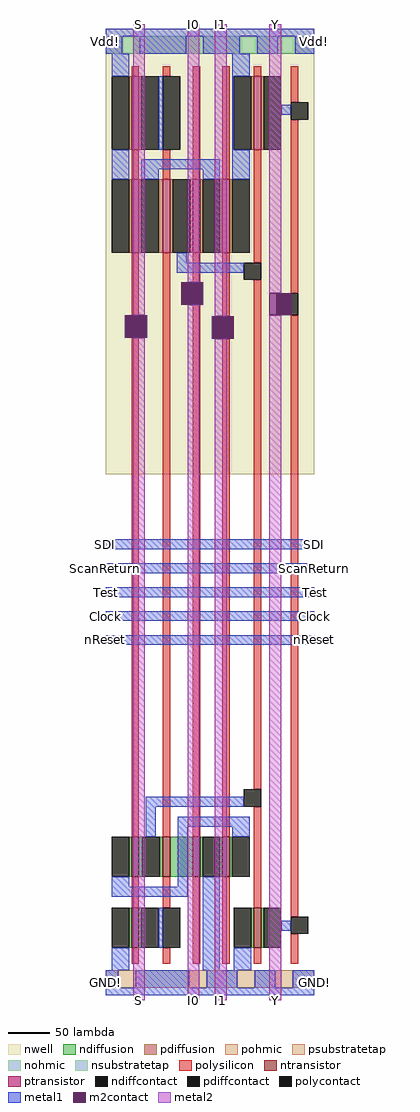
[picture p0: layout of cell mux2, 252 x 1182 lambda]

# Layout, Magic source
magic
tech tsmc180
<< nwell >>
rect 0 637 252 1176
<< polysilicon >>
rect 31 1119 40 1131
rect 69 1119 78 1131
rect 31 994 40 1030
rect 69 994 78 1030
rect 105 994 114 1131
rect 141 994 150 1131
rect 179 1119 188 1131
rect 224 1087 233 1131
rect 31 829 40 905
rect 31 198 40 802
rect 69 198 78 905
rect 105 869 114 905
rect 105 198 114 842
rect 141 828 150 905
rect 179 893 188 1030
rect 141 198 150 801
rect 179 255 188 872
rect 224 856 233 1066
rect 31 112 40 149
rect 69 112 78 149
rect 31 44 40 63
rect 69 44 78 63
rect 105 44 114 149
rect 141 44 150 149
rect 179 112 188 234
rect 224 101 233 829
rect 179 44 188 63
rect 224 44 233 80
<< ndiffusion >>
rect 28 149 31 198
rect 40 149 44 198
rect 65 149 69 198
rect 78 149 105 198
rect 114 149 117 198
rect 138 149 141 198
rect 150 149 153 198
rect 28 63 31 112
rect 40 63 43 112
rect 176 63 179 112
rect 188 63 191 112
<< pdiffusion >>
rect 28 1030 31 1119
rect 40 1030 43 1119
rect 176 1030 179 1119
rect 188 1030 191 1119
rect 28 905 31 994
rect 40 905 43 994
rect 64 905 69 994
rect 78 905 81 994
rect 102 905 105 994
rect 114 905 117 994
rect 138 905 141 994
rect 150 905 153 994
<< pohmic >>
rect 0 15 15 36
rect 36 15 101 36
rect 122 15 159 36
rect 180 15 205 36
rect 226 15 252 36
<< nohmic >>
rect 0 1146 20 1167
rect 41 1146 97 1167
rect 118 1146 162 1167
rect 183 1146 208 1167
rect 229 1146 252 1167
<< ntransistor >>
rect 31 149 40 198
rect 69 149 78 198
rect 105 149 114 198
rect 141 149 150 198
rect 31 63 40 112
rect 179 63 188 112
<< ptransistor >>
rect 31 1030 40 1119
rect 179 1030 188 1119
rect 31 905 40 994
rect 69 905 78 994
rect 105 905 114 994
rect 141 905 150 994
<< polycontact >>
rect 69 1030 90 1119
rect 224 1066 245 1087
rect 23 802 50 829
rect 91 842 118 869
rect 167 872 188 893
rect 128 801 155 828
rect 206 829 233 856
rect 167 234 188 255
rect 69 63 90 112
rect 224 80 245 101
<< ndiffcontact >>
rect 7 149 28 198
rect 44 149 65 198
rect 117 149 138 198
rect 153 149 174 198
rect 7 63 28 112
rect 43 63 64 112
rect 155 63 176 112
rect 191 63 212 112
<< pdiffcontact >>
rect 7 1030 28 1119
rect 43 1030 64 1119
rect 155 1030 176 1119
rect 191 1030 212 1119
rect 7 905 28 994
rect 43 905 64 994
rect 81 905 102 994
rect 117 905 138 994
rect 153 905 174 994
<< psubstratetap >>
rect 15 15 36 36
rect 101 15 122 36
rect 159 15 180 36
rect 205 15 226 36
<< nsubstratetap >>
rect 20 1146 41 1167
rect 97 1146 118 1167
rect 162 1146 183 1167
rect 208 1146 229 1167
<< metal1 >>
rect 0 1167 252 1176
rect 0 1146 20 1167
rect 41 1146 97 1167
rect 118 1146 162 1167
rect 183 1146 208 1167
rect 229 1146 252 1167
rect 7 1119 28 1146
rect 153 1119 174 1146
rect 64 1030 69 1119
rect 153 1030 155 1119
rect 212 1072 224 1084
rect 7 994 28 1030
rect 43 1006 138 1018
rect 43 994 64 1006
rect 117 994 138 1006
rect 153 994 174 1030
rect 86 893 98 905
rect 86 881 167 893
rect 0 546 252 558
rect 0 517 252 529
rect 0 488 252 500
rect 0 459 252 471
rect 0 430 252 442
rect 48 234 167 246
rect 48 198 60 234
rect 87 210 174 222
rect 7 137 28 149
rect 87 137 99 210
rect 153 198 174 210
rect 7 125 99 137
rect 64 63 69 112
rect 7 36 28 63
rect 117 36 138 149
rect 212 84 224 96
rect 155 36 176 63
rect 0 15 15 36
rect 36 15 101 36
rect 122 15 159 36
rect 180 15 205 36
rect 226 15 252 36
rect 0 6 252 15
<< m2contact >>
rect 91 842 118 869
rect 198 829 206 856
rect 206 829 225 856
rect 23 802 50 829
rect 128 801 155 828
<< metal2 >>
rect 33 829 47 1182
rect 99 869 113 1182
rect 33 0 47 802
rect 99 0 113 842
rect 132 828 146 1182
rect 198 856 212 1182
rect 132 0 146 801
rect 198 0 212 829
<< labels >>
rlabel metal1 0 1146 0 1176 3 Vdd!
rlabel metal1 0 546 0 558 3 SDI
rlabel metal1 0 517 0 529 3 ScanReturn
rlabel metal1 0 488 0 500 3 Test
rlabel metal1 0 459 0 471 3 Clock
rlabel metal1 0 430 0 442 3 nReset
rlabel metal1 0 6 0 36 3 GND!
rlabel metal1 252 1146 252 1176 7 Vdd!
rlabel metal1 252 6 252 36 7 GND!
rlabel metal2 33 1182 47 1182 5 S
rlabel metal2 33 0 47 0 1 S
rlabel metal2 99 0 113 0 1 I0
rlabel metal2 132 0 146 0 1 I1
rlabel metal2 198 0 212 0 1 Y
rlabel metal2 99 1182 113 1182 5 I0
rlabel metal2 132 1182 146 1182 5 I1
rlabel metal2 198 1182 212 1182 5 Y
rlabel metal1 252 546 252 558 7 SDI
rlabel metal1 252 517 252 529 7 ScanReturn
rlabel metal1 252 488 252 500 7 Test
rlabel metal1 252 459 252 471 7 Clock
rlabel metal1 252 430 252 442 7 nReset
<< end >>
